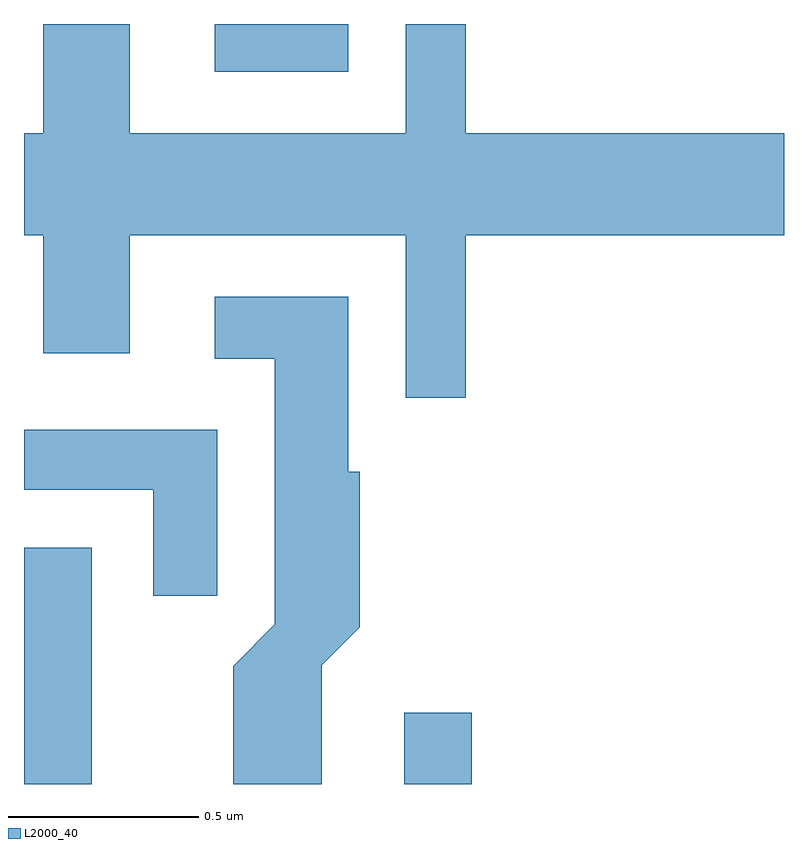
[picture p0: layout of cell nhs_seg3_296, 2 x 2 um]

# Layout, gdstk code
import gdstk
lib = gdstk.Library(unit=1e-6, precision=1e-09)
def R(c, l, rs):  # rectangles x0, y0, x1, y1
    for r in rs: c.add(gdstk.rectangle(r[:2], r[2:], *l))
def P(c, l, *ps):  # polygons
    for p in ps: c.add(gdstk.Polygon(p, *l))
L2000_40 = (2000, 40)

nhs_seg3_296 = lib.new_cell('nhs_seg3_296')
R(nhs_seg3_296, L2000_40, [(187.611,1137.892,187.789,1138.514), (188.611,1137.892,188.789,1138.079), (188.113,1139.766,188.464,1139.892)])
P(nhs_seg3_296, L2000_40, [(188.774,1139.336),(189.611,1139.336),(189.611,1139.604),(188.774,1139.604),(188.774,1139.892),(188.616,1139.892),(188.616,1139.604),(187.889,1139.604),(187.889,1139.892),(187.661,1139.892),(187.661,1139.604),(187.611,1139.604),(187.611,1139.336),(187.661,1139.336),(187.661,1139.026),(187.889,1139.026),(187.889,1139.336),(188.616,1139.336),(188.616,1138.908),(188.774,1138.908)],
  [(188.394,1138.204),(188.494,1138.304),(188.494,1138.714),(188.464,1138.714),(188.464,1139.174),(188.113,1139.174),(188.113,1139.011),(188.271,1139.011),(188.271,1138.312),(188.161,1138.202),(188.161,1137.892),(188.394,1137.892)],
  [(188.119,1138.824),(187.611,1138.824),(187.611,1138.666),(187.951,1138.666),(187.951,1138.388),(188.119,1138.388)])

lib.write_gds('nhs_seg3_296.gds')
